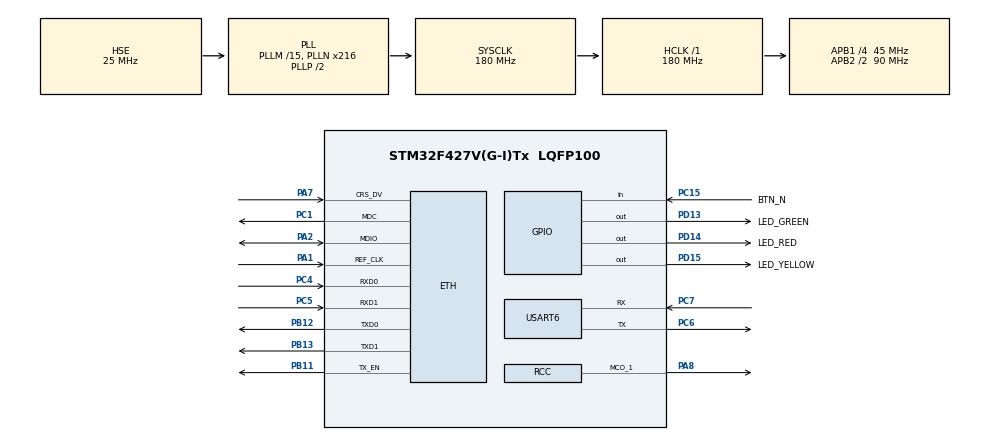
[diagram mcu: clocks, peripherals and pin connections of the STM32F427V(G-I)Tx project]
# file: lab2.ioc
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ETH.MediaInterface=HAL_ETH_RMII_MODE
ETH.PHY_Name_RMII=LAN8742A_PHY_ADDRESS
LWIP.BSP.number=1
LWIP.Version=v2.1.2_Cube
LWIP0.BSP.STBoard=false
LWIP0.BSP.api=BSP_COMPONENT_DRIVER
LWIP0.BSP.component=LAN8742
LWIP0.BSP.i2caddr=0
LWIP0.BSP.instance=LAN8742
LWIP0.BSP.name=Driver_PHY
LWIP0.BSP.semaphore=S_LAN8742
LWIP0.BSP.solution=LAN8742
Mcu.Family=STM32F4
Mcu.Name=STM32F427V(G-I)Tx
Mcu.Package=LQFP100
NVIC.ETH_IRQn=true\:0\:0\:false\:false\:true\:true\:true\:true
NVIC.PriorityGroup=NVIC_PRIORITYGROUP_4
NVIC.TIM7_IRQn=true\:0\:0\:false\:false\:true\:true\:true\:true
NVIC.USART6_IRQn=true\:0\:0\:false\:false\:true\:true\:true\:true
PA1.Mode=RMII
PA1.Signal=ETH_REF_CLK
PA13.Mode=JTAG_5_pins
PA13.Signal=SYS_JTMS-SWDIO
PA14.Mode=JTAG_5_pins
PA14.Signal=SYS_JTCK-SWCLK
PA15.Mode=JTAG_5_pins
PA15.Signal=SYS_JTDI
PA2.Mode=RMII
PA2.Signal=ETH_MDIO
PA7.Mode=RMII
PA7.Signal=ETH_CRS_DV
PA8.Mode=Clock-out-1
PA8.Signal=RCC_MCO_1
PB11.Mode=RMII
PB11.Signal=ETH_TX_EN
PB12.Mode=RMII
PB12.Signal=ETH_TXD0
PB13.Mode=RMII
PB13.Signal=ETH_TXD1
PB3.Mode=JTAG_5_pins
PB3.Signal=SYS_JTDO-SWO
PB4.Mode=JTAG_5_pins
PB4.Signal=SYS_JTRST
PC1.Mode=RMII
PC1.Signal=ETH_MDC
PC15/OSC32_OUT.GPIO_Label=BTN_N
PC15/OSC32_OUT.Signal=GPIO_Input
PC4.Mode=RMII
PC4.Signal=ETH_RXD0
PC5.Mode=RMII
PC5.Signal=ETH_RXD1
PC6.Mode=Asynchronous
PC6.Signal=USART6_TX
PC7.Mode=Asynchronous
PC7.Signal=USART6_RX
PD13.GPIO_Label=LED_GREEN
PD13.Signal=GPIO_Output
PD14.GPIO_Label=LED_RED
PD14.Signal=GPIO_Output
PD15.GPIO_Label=LED_YELLOW
PD15.Signal=GPIO_Output
PH0/OSC_IN.Mode=HSE-External-Oscillator
PH0/OSC_IN.Signal=RCC_OSC_IN
PH1/OSC_OUT.Mode=HSE-External-Oscillator
PH1/OSC_OUT.Signal=RCC_OSC_OUT
ProjectManager.HeapSize=0x200
ProjectManager.StackSize=0x400
ProjectManager.TargetToolchain=STM32CubeIDE
RCC.48MHZClocksFreq_Value=90000000
RCC.AHBFreq_Value=180000000
RCC.APB1CLKDivider=RCC_HCLK_DIV4
RCC.APB1Freq_Value=45000000
RCC.APB1TimFreq_Value=90000000
RCC.APB2CLKDivider=RCC_HCLK_DIV2
RCC.APB2Freq_Value=90000000
RCC.APB2TimFreq_Value=180000000
RCC.CortexFreq_Value=180000000
RCC.HCLKFreq_Value=180000000
RCC.HSE_VALUE=25000000
RCC.HSI_VALUE=16000000
RCC.LSE_VALUE=32768
RCC.PLLM=15
RCC.PLLN=216
RCC.PLLSourceVirtual=RCC_PLLSOURCE_HSE
RCC.RCC_MCO1Source=RCC_MCO1SOURCE_HSE
RCC.SYSCLKFreq_VALUE=180000000
RCC.SYSCLKSource=RCC_SYSCLKSOURCE_PLLCLK
RCC.VCOOutputFreq_Value=360000000
TIM7.Period=10000
TIM7.Prescaler=44999
USART6.VirtualMode=VM_ASYNC
VP_LWIP_VS_Enabled.Mode=Enabled
VP_TIM7_VS_ClockSourceINT.Mode=Enable_Timer
board=custom

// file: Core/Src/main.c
/* USER CODE BEGIN Header */
/**
  ******************************************************************************
  * @file           : main.c
  * @brief          : Main program body
  ******************************************************************************
  * @attention
  *
  * Copyright (c) 2022 STMicroelectronics.
  * All rights reserved.
  *
  * This software is licensed under terms that can be found in the LICENSE file
  * in the root directory of this software component.
  * If no LICENSE file comes with this software, it is provided AS-IS.
  *
  ******************************************************************************
  */
/* USER CODE END Header */
#include "main.h"
#include "lwip.h"
#include "tim.h"
#include "usart.h"
#include "gpio.h"

/* USER CODE BEGIN Includes */
#include <string.h>
#include <stdio.h>
#include <inttypes.h>

#include "traffic_light.h"
#include "hardware/button.h"
#include "command.h"
#include "menu.h"
#include "eth/lwip_tcp.h"

#include "stm32f4xx_hal.h"
#include "stm32f4xx_hal_flash.h"
#include "stm32f4xx_hal_flash_ex.h"
/* USER CODE END Includes */

/* USER CODE BEGIN PD */
#define UART_BUF_SIZE 128
/* USER CODE END PD */

/* USER CODE BEGIN PV */
static uint8_t uartBuf[UART_BUF_SIZE];
static uint8_t uartBufLast = 0;
static uint8_t hasLine = 0;
static Command *commands[5];

static uint32_t durations[3] = {
        [RED] = 6000,
        [YELLOW] = 1500,
        [GREEN] = 1500
};
/* USER CODE END PV */

void SystemClock_Config(void);
/* USER CODE BEGIN PFP */
static char * getTrafficLightInfo();
static char * changeButtonMode(const uint32_t *intArg);
static char * changeInterruptionMode(const uint32_t *intArg);
static char * changeRedTimeout(const uint32_t *intArg);
static void onButtonClick();
static void sendMessage(const char * msg);
static void receiveAndSendChar();
static void sendCommandResult(const char * commandResult);
void jumpToBootloader();
/* USER CODE END PFP */

int main(void)
{
  /* USER CODE BEGIN 1 */
  commands[0] = commandCreate("?", (CommandAction) getTrafficLightInfo, NONE);
  commands[1] = commandCreate("set mode", (CommandAction) changeButtonMode, INT);
  commands[2] = commandCreate("set interrupts", (CommandAction) changeInterruptionMode, INT);
  commands[3] = commandCreate("set timeout", (CommandAction) changeRedTimeout, INT);
  commands[4] = commandCreate("boot", (CommandAction) jumpToBootloader, NONE);
  /* USER CODE END 1 */

  /* MCU Configuration--------------------------------------------------------*/

  /* Reset of all peripherals, Initializes the Flash interface and the Systick. */
  HAL_Init();

  /* Configure the system clock */
  SystemClock_Config();

  /* Initialize all configured peripherals */
  MX_GPIO_Init();
  MX_USART6_UART_Init();
  MX_TIM7_Init();
  MX_LWIP_Init();
  /* USER CODE BEGIN 2 */
  lwip_tcp_init();
  uartInit();

  trafficLightInit(LED_RED_GPIO_Port, LED_RED_Pin, LED_YELLOW_GPIO_Port, LED_YELLOW_Pin, LED_GREEN_GPIO_Port, LED_GREEN_Pin);
  trafficLightSetDuration(RED, durations[RED]);
  trafficLightSetDuration(GREEN, durations[GREEN]);
  trafficLightSetDuration(YELLOW, durations[YELLOW]);
  trafficLightStart();

  buttonInit(BTN_N_GPIO_Port, BTN_N_Pin);
  buttonSetOnClick(&onButtonClick);
  buttonEnable();

  menuInit(commands, 5);
  sendMessage("Started\n");
  HAL_TIM_Base_Start_IT(&htim7);
  /* USER CODE END 2 */

  /* Infinite loop */
  /* USER CODE BEGIN WHILE */
  while (1)  {
	  WRITE_REG(IWDG->KR, 0x0000AAAAU);
	  MX_LWIP_Process();

	  trafficLightUpdate();
	  buttonUpdateState();
	  uartPooling();

	  if (uartHasNext()) {
		  receiveAndSendChar();
	  }

	  if (hasLine) {
		  uartBuf[uartBufLast] = '\0';
		  const char *commandResult = menuExecuteCommand((char *) uartBuf);
		  sendMessage("\n");
		  sendCommandResult(commandResult);
	  }
    /* USER CODE END WHILE */

  }
}

void SystemClock_Config(void)
{
  RCC_OscInitTypeDef RCC_OscInitStruct = {0};
  RCC_ClkInitTypeDef RCC_ClkInitStruct = {0};

  /** Configure the main internal regulator output voltage
  */
  __HAL_RCC_PWR_CLK_ENABLE();
  __HAL_PWR_VOLTAGESCALING_CONFIG(PWR_REGULATOR_VOLTAGE_SCALE1);

  /** Initializes the RCC Oscillators according to the specified parameters
  * in the RCC_OscInitTypeDef structure.
  */
  RCC_OscInitStruct.OscillatorType = RCC_OSCILLATORTYPE_HSE;
  RCC_OscInitStruct.HSEState = RCC_HSE_ON;
  RCC_OscInitStruct.PLL.PLLState = RCC_PLL_ON;
  RCC_OscInitStruct.PLL.PLLSource = RCC_PLLSOURCE_HSE;
  RCC_OscInitStruct.PLL.PLLM = 15;
  RCC_OscInitStruct.PLL.PLLN = 216;
  RCC_OscInitStruct.PLL.PLLP = RCC_PLLP_DIV2;
  RCC_OscInitStruct.PLL.PLLQ = 4;
  if (HAL_RCC_OscConfig(&RCC_OscInitStruct) != HAL_OK)
  {
    Error_Handler();
  }

  /** Activate the Over-Drive mode
  */
  if (HAL_PWREx_EnableOverDrive() != HAL_OK)
  {
    Error_Handler();
  }

  /** Initializes the CPU, AHB and APB buses clocks
  */
  RCC_ClkInitStruct.ClockType = RCC_CLOCKTYPE_HCLK|RCC_CLOCKTYPE_SYSCLK
                              |RCC_CLOCKTYPE_PCLK1|RCC_CLOCKTYPE_PCLK2;
  RCC_ClkInitStruct.SYSCLKSource = RCC_SYSCLKSOURCE_PLLCLK;
  RCC_ClkInitStruct.AHBCLKDivider = RCC_SYSCLK_DIV1;
  RCC_ClkInitStruct.APB1CLKDivider = RCC_HCLK_DIV4;
  RCC_ClkInitStruct.APB2CLKDivider = RCC_HCLK_DIV2;

  if (HAL_RCC_ClockConfig(&RCC_ClkInitStruct, FLASH_LATENCY_5) != HAL_OK)
  {
    Error_Handler();
  }
  HAL_RCC_MCOConfig(RCC_MCO1, RCC_MCO1SOURCE_HSE, RCC_MCODIV_1);
}

/* USER CODE BEGIN 4 */
void jumpToBootloader() {
	HAL_FLASH_Unlock();
	HAL_FLASH_Program(FLASH_TYPEPROGRAM_WORD, (uint32_t)0x08104000, 0);
	HAL_FLASH_Lock();
	NVIC_SystemReset();
}

static void onButtonClick() {
    trafficLightSetShortRed(durations[RED] >> 2);
}

static char cmdBuf[128];
static char * getTrafficLightInfo() {
    char *bufLast = cmdBuf;
    uint8_t isBlinking = trafficLightIsBlinking();
    char *currentColor = colorGetName(trafficLightGetColor());
    bufLast += sprintf(bufLast, "Light: %s%s\n",
            isBlinking ? "blinking " : "",
            currentColor
    );
    bufLast += sprintf(bufLast, "Button mode: mode %" PRIu32 " (%s)\n",
                       buttonIsEnabled() + 1,
                       buttonIsEnabled() ? "enabled" : "disabled"
    );
    bufLast += sprintf(bufLast, "Red timeout: %" PRIu32 " s\n",
                       durations[RED] / (uint32_t) 1000
    );
    bufLast += sprintf(bufLast, "Interrupts mode: %s\n\r",
                       uartIsInterruptionEnabled()  ? "I" : "P"
    );
    return cmdBuf;
}

static char * changeButtonMode(const uint32_t *intArg) {
    if (*intArg == 2) {
    	buttonEnable();
        return "Enable button\n";
    } else if (*intArg == 1) {
        buttonDisable();
        return "Disable button\n";
    } else {
        return "The int argument must be 1 or 2\n";
    }
}

static char * changeInterruptionMode(const uint32_t *intArg) {
    if (*intArg == 1) {
        uartEnableInterruption();
        return "Enable int\n";
    } else if (*intArg == 2) {
        uartDisableInterruption();
        return "Disable int\n";
    } else {
        return "The argument must be 1 or 2\n";
    }
}

static char * changeRedTimeout(const uint32_t *intArg) {
    durations[RED] = *intArg * 1000;
    trafficLightSetDuration(RED, durations[RED]);
    return "OK\n";
}

static void sendMessage(const char * msg) {
    uartTransmit((uint8_t *) msg, strlen(msg));
}

static void receiveAndSendChar() {
    if (uartReceive(uartBuf + uartBufLast, 1)) {
        uint8_t received = uartBuf[uartBufLast];
        uartBufLast++;
        uartTransmit(&received, 1);

        if (received == '\r')
            hasLine = 1;
    }
}

static void sendCommandResult(const char * commandResult) {
    uartTransmit((uint8_t *) commandResult, strlen(commandResult));
    uartBufLast = 0;
    hasLine = 0;
}
/* USER CODE END 4 */

void Error_Handler(void)
{
  __disable_irq();
  while (1)
  {
  }
}
